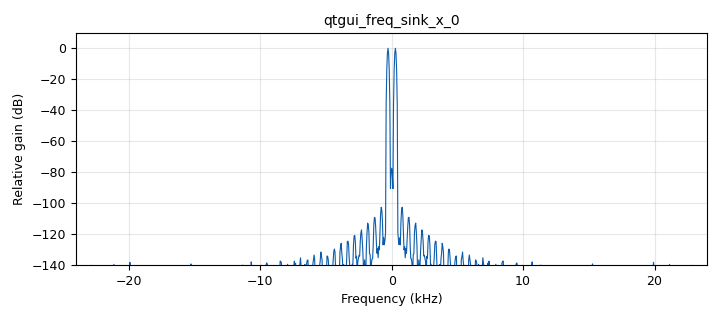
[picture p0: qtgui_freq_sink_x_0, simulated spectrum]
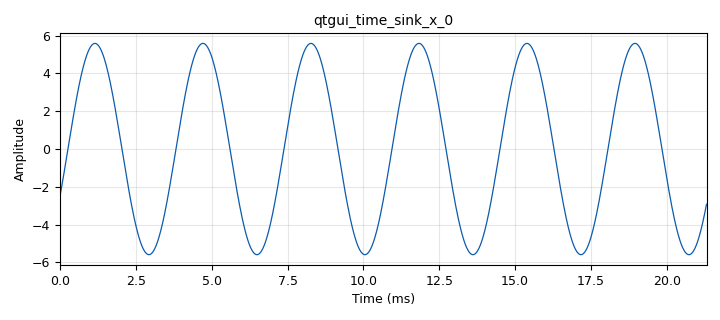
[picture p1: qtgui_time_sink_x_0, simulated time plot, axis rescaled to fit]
<?xml version='1.0' encoding='utf-8'?>
<?grc format='1' created='3.7.9'?>
<flow_graph>
<block>
<key>options</key>
<param><key>id</key><value>top_block</value></param>
<param><key>category</key><value>Custom</value></param>
<param><key>generate_options</key><value>qt_gui</value></param>
</block>
<block>
<key>variable</key>
<param><key>id</key><value>samp_rate</value></param>
<param><key>value</key><value>48000</value></param>
</block>
<block>
<key>variable_qtgui_range</key>
<param><key>id</key><value>sens</value></param>
<param><key>value</key><value>6.28</value></param>
<param><key>label</key><value>sens</value></param>
<param><key>orient</key><value>Qt.Horizontal</value></param>
<param><key>start</key><value>0.1</value></param>
<param><key>step</key><value>0.1</value></param>
<param><key>stop</key><value>15</value></param>
<param><key>widget</key><value>dial</value></param>
</block>
<block>
<key>analog_const_source_x</key>
<param><key>id</key><value>analog_const_source_x_0</value></param>
<param><key>const</key><value>262</value></param>
<param><key>_enabled</key><value>0</value></param>
<param><key>type</key><value>float</value></param>
</block>
<block>
<key>audio_sink</key>
<param><key>id</key><value>audio_sink_0</value></param>
<param><key>samp_rate</key><value>48000</value></param>
</block>
<block>
<key>blocks_repeat</key>
<param><key>id</key><value>blocks_repeat_1</value></param>
<param><key>interp</key><value>24000</value></param>
<param><key>type</key><value>float</value></param>
</block>
<block>
<key>blocks_vco_f</key>
<param><key>id</key><value>blocks_vco_f_0</value></param>
<param><key>amplitude</key><value>100</value></param>
<param><key>samp_rate</key><value>samp_rate</value></param>
<param><key>sensitivity</key><value>6</value></param>
</block>
<block>
<key>dc_blocker_xx</key>
<param><key>id</key><value>dc_blocker_xx_0</value></param>
<param><key>length</key><value>16</value></param>
<param><key>long_form</key><value>True</value></param>
<param><key>type</key><value>ff</value></param>
</block>
<block>
<key>blocks_vector_source_x</key>
<param><key>id</key><value>f</value></param>
<param><key>type</key><value>float</value></param>
<param><key>repeat</key><value>True</value></param>
<param><key>vector</key><value>(262, 262, 294, 262, 349, 330, 262, 262, 294, 262, 392, 349, 262, 262, 277, 440, 392, 349, 330, 466 , 466, 440, 349, 393, 349)</value></param>
</block>
<block>
<key>qtgui_freq_sink_x</key>
<param><key>id</key><value>qtgui_freq_sink_x_0</value></param>
<param><key>bw</key><value>samp_rate</value></param>
<param><key>fc</key><value>0</value></param>
<param><key>fftsize</key><value>1024</value></param>
<param><key>showports</key><value>True</value></param>
<param><key>type</key><value>float</value></param>
<param><key>wintype</key><value>firdes.WIN_BLACKMAN_hARRIS</value></param>
</block>
<block>
<key>qtgui_time_sink_x</key>
<param><key>id</key><value>qtgui_time_sink_x_0</value></param>
<param><key>color1</key><value>"blue"</value></param>
<param><key>label1</key><value></value></param>
<param><key>size</key><value>1024</value></param>
<param><key>srate</key><value>samp_rate</value></param>
<param><key>type</key><value>float</value></param>
</block>
<connection><source_block_id>analog_const_source_x_0</source_block_id><sink_block_id>blocks_vco_f_0</sink_block_id><source_key>0</source_key><sink_key>0</sink_key></connection>
<connection><source_block_id>blocks_repeat_1</source_block_id><sink_block_id>blocks_vco_f_0</sink_block_id><source_key>0</source_key><sink_key>0</sink_key></connection>
<connection><source_block_id>blocks_vco_f_0</source_block_id><sink_block_id>dc_blocker_xx_0</sink_block_id><source_key>0</source_key><sink_key>0</sink_key></connection>
<connection><source_block_id>dc_blocker_xx_0</source_block_id><sink_block_id>audio_sink_0</sink_block_id><source_key>0</source_key><sink_key>0</sink_key></connection>
<connection><source_block_id>dc_blocker_xx_0</source_block_id><sink_block_id>qtgui_freq_sink_x_0</sink_block_id><source_key>0</source_key><sink_key>0</sink_key></connection>
<connection><source_block_id>dc_blocker_xx_0</source_block_id><sink_block_id>qtgui_time_sink_x_0</sink_block_id><source_key>0</source_key><sink_key>0</sink_key></connection>
<connection><source_block_id>f</source_block_id><sink_block_id>blocks_repeat_1</sink_block_id><source_key>0</source_key><sink_key>0</sink_key></connection>
</flow_graph>
